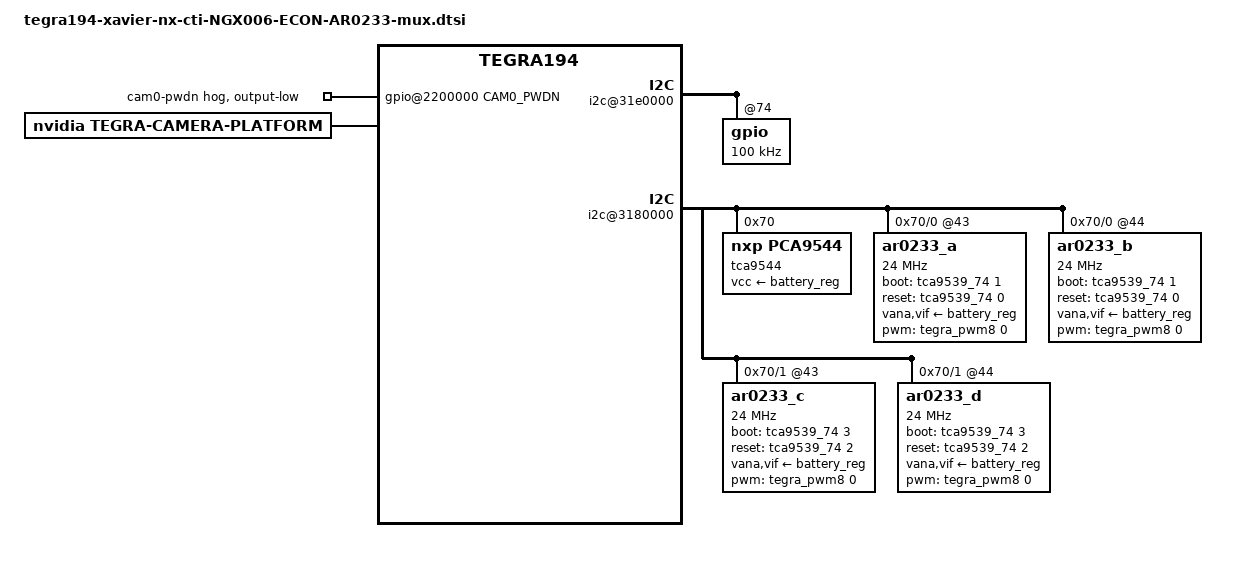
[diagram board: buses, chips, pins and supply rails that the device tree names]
/* Econ device tree for AR0230 support */

#include "dt-bindings/clock/tegra194-clock.h"
#include "tegra194-cti-camera-econ-ar0233-4cam-modes-header.dtsi"
#include "tegra194-xavier-nx-cti-econ-AR0233-header.dtsi"
#include "tegra194-cti-camera-4cam-1mux-base.dtsi"

#define CAM0_PWDN	TEGRA194_MAIN_GPIO(P, 4)

/* Enable Six overlays in Jetson Xavier NX */
&head0 {
	win-mask = <0x3f>;
};

/ {

	/* set camera gpio direction to output */
	gpio@2200000 {
		camera-control-output-low {
		 	gpio-hog;
		 	output-low;
		 	gpios = <CAM0_PWDN 0>;
			label = "cam0-pwdn";
		};
	};
	
	i2c@31e0000 {
	  	status = "okay";
		#address-cells = <1>;
		#size-cells = <0>;
		gpio@74{    //Camera GPIO
			clock-frequency = <100000>;
			tca9539_74: tca9539@74 {
			compatible = "ti,tca9539";
			gpio-controller;
			#gpio-cells = <2>;
			reg = <0x74>;
			vcc-supply = <&battery_reg>;
		 	status = "okay";
			tca9539_74_outlow {
		 		/*
				 * GPIO-0  : RST_CAMA
		 		 * GPIO-1  : BOOT_CAMA
		 		 * GPIO-2  : RST_CAMB
		 		 * GPIO-3  : BOOT_CAMB
		 		 * GPIO-4  : RST_CAMC
		 		 * GPIO-5  : BOOT_CAMC
		 		 * GPIO-6  : RST_CAMD
		 		 * GPIO-7  : BOOT_CAMD
				 */
		 		gpio-hog;
		 		gpios = <0 0 1 0 2 0 3 0 4 0 5 0 6 0 7 0>;
		 		output-low;
		 		label = "tca9539_74_outlow_0",
		 				"tca9539_74_outlow_1",
		 				"tca9539_74_outlow_2",
		 				"tca9539_74_outlow_3",
		 				"tca9539_74_outlow_4",
		 				"tca9539_74_outlow_5",
		 				"tca9539_74_outlow_6",
		 				"tca9539_74_outlow_7";
		 	};
			tca9539_74_outhigh {
		 		status= "disabled";
			};
			tca9539_74_input {
		 		status = "disabled";
		 	};
		 };
	    };
	};

	i2c@3180000 {
		status = "okay";
		#address-cells = <1>;
		#size-cells = <0>;
		tca9544@70 {
            compatible = "nxp,pca9544";
            reg = <0x70>;
            #address-cells = <1>;
            #size-cells = <0>;
			vcc-supply = <&battery_reg>;
			skip_mux_detect;
            force_bus_start = <0x1e>;
			i2c@0 {
	            reg = <0>;
    	   	    i2c-mux,deselect-on-exit;
				#address-cells = <1>;
             	#size-cells = <0>;	            		
				ar0233_a@43 {
				
					avdd-reg = "vana";
					iovdd-reg = "vif";
					clocks = <&bpmp_clks  TEGRA194_CLK_EXTPERIPH1>,
							 <&bpmp_clks TEGRA194_CLK_PLLP_OUT0>;
					clock-names = "extperiph1", "pllp_grtba";
					mclk = "extperiph1";
					clock-frequency = <24000000>;
					boot-gpios = <&tca9539_74 1 GPIO_ACTIVE_HIGH>;
					reset-gpios = <&tca9539_74 0 GPIO_ACTIVE_HIGH>; 
					vana-supply = <&battery_reg>;
					vif-supply = <&battery_reg>;
					use_sensor_mode_id = "false";
					camera_mipi_lanes = <2>;
					sio-port = "A";
					deserializer-address = <0x48>;
					serializer-address_1 = <0x40>;
					serializer-address_2 = <0x41>;	
					/*PWM CHIP 0 with default period for 30Hz*/
					#pwm-cells = <1>;
					pwms = <&tegra_pwm8 0 33333333>;				
				};
               	ar0233_b@44 {
					
                    avdd-reg = "vana";
                    iovdd-reg = "vif";
					clocks = <&bpmp_clks  TEGRA194_CLK_EXTPERIPH1>,
								<&bpmp_clks TEGRA194_CLK_PLLP_OUT0>;
                        		clock-names = "extperiph1", "pllp_grtba";
                        		mclk = "extperiph1";
                        		clock-frequency = <24000000>;
					boot-gpios = <&tca9539_74 1 GPIO_ACTIVE_HIGH>;
					reset-gpios = <&tca9539_74 0 GPIO_ACTIVE_HIGH>; 
					vana-supply= <&battery_reg>;
					vif-supply = <&battery_reg>;
					use_sensor_mode_id = "false";
					camera_mipi_lanes = <2>;
					sio-port = "B";
					deserializer-address = <0x48>;
					serializer-address_1 = <0x40>;
					serializer-address_2 = <0x41>;						
					/*PWM CHIP 0 with default period for 30Hz*/
					#pwm-cells = <1>;
					pwms = <&tegra_pwm8 0 33333333>;
       			};
			};

            i2c@1{                		
               	reg = <1>;
               	i2c-mux,deselect-on-exit;
               	#address-cells = <1>;
               	#size-cells = <0>;
				ar0233_c@43 {
					avdd-reg = "vana";
					iovdd-reg = "vif";
					clocks = <&bpmp_clks  TEGRA194_CLK_EXTPERIPH1>,
							 <&bpmp_clks TEGRA194_CLK_PLLP_OUT0>;
					clock-names = "extperiph1", "pllp_grtba";
					mclk = "extperiph1";
					clock-frequency = <24000000>;
					boot-gpios = <&tca9539_74 3 GPIO_ACTIVE_HIGH>;
					reset-gpios = <&tca9539_74 2 GPIO_ACTIVE_HIGH>; 
					vana-supply = <&battery_reg>;
					vif-supply = <&battery_reg>;
					use_sensor_mode_id = "false";
					camera_mipi_lanes = <2>;
					sio-port = "A";
					deserializer-address = <0x48>;
					serializer-address_1 = <0x40>;
					serializer-address_2 = <0x41>;					
					/*PWM CHIP 0 with default period for 30Hz*/
					#pwm-cells = <1>;
					pwms = <&tegra_pwm8 0 33333333>;
				};
				ar0233_d@44 {			        	                       		
                    avdd-reg = "vana";
                   	iovdd-reg = "vif";
					clocks = <&bpmp_clks  TEGRA194_CLK_EXTPERIPH1>,
				 		<&bpmp_clks TEGRA194_CLK_PLLP_OUT0>;
                   	clock-names = "extperiph1", "pllp_grtba";
                   	mclk = "extperiph1";
                   	clock-frequency = <24000000>;
					boot-gpios = <&tca9539_74 3 GPIO_ACTIVE_HIGH>;
					reset-gpios = <&tca9539_74 2 GPIO_ACTIVE_HIGH>; 
					vana-supply = <&battery_reg>;
					vif-supply = <&battery_reg>;
					use_sensor_mode_id = "false";
					camera_mipi_lanes = <2>;
					sio-port = "B";
					deserializer-address = <0x48>;
					serializer-address_1 = <0x40>;
					serializer-address_2 = <0x41>;	
					/*PWM CHIP 0 with default period for 30Hz*/
					#pwm-cells = <1>;
					pwms = <&tegra_pwm8 0 33333333>;
       			};
          	};
		};	
	};

	tegra-camera-platform {
		compatible = "nvidia, tegra-camera-platform";
		/**
		* Physical settings to calculate max ISO BW
		*
		* num_csi_lanes = <>;
		* Total number of CSI lanes when all cameras are active
		*
		* max_lane_speed = <>;
		* Max lane speed in Kbit/s
		*
		* min_bits_per_pixel = <>;
		* Min bits per pixel
		*
		* vi_peak_byte_per_pixel = <>;
		* Max byte per pixel for the VI ISO case
		*
		* vi_bw_margin_pct = <>;
		* Vi bandwidth margin in percentage
		*
		*/
		num_csi_lanes = <8>;
		max_lane_speed = <2500000>;
		min_bits_per_pixel = <16>;
		vi_peak_byte_per_pixel = <2>;
		vi_bw_margin_pct = <67>;
	};
};

